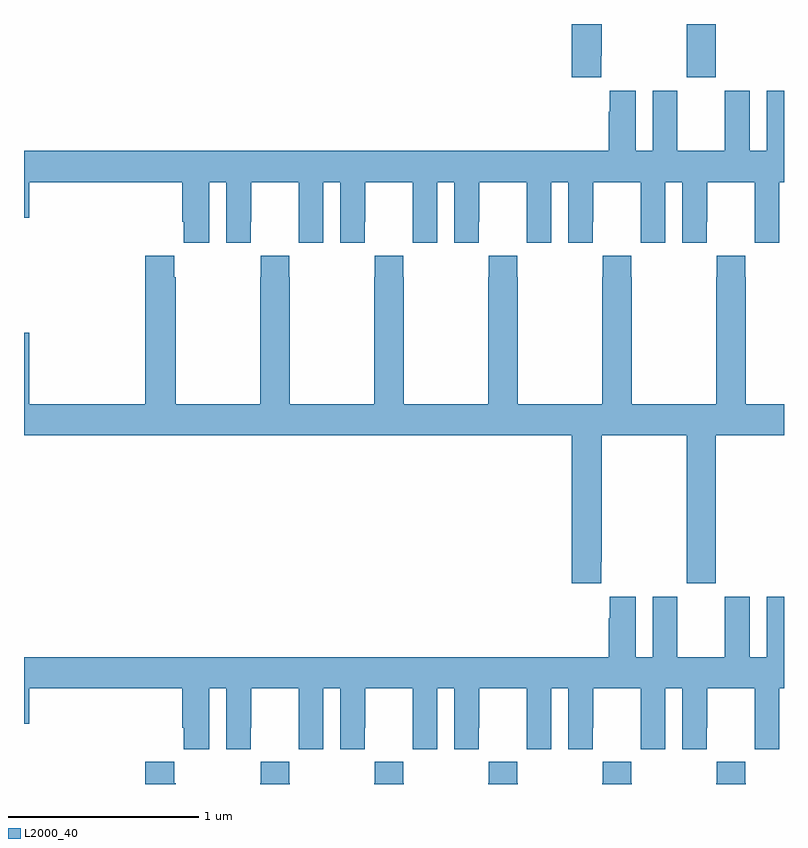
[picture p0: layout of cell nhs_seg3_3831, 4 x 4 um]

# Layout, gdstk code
import gdstk
lib = gdstk.Library(unit=1e-6, precision=1e-09)
def R(c, l, rs):  # rectangles x0, y0, x1, y1
    for r in rs: c.add(gdstk.rectangle(r[:2], r[2:], *l))
def P(c, l, *ps):  # polygons
    for p in ps: c.add(gdstk.Polygon(p, *l))
L2000_40 = (2000, 40)

nhs_seg3_3831 = lib.new_cell('nhs_seg3_3831')
R(nhs_seg3_3831, L2000_40, [(312.487,716.121,312.642,716.4)])
P(nhs_seg3_3831, L2000_40, [(312.037,716.233),(312.042,716.233),(312.042,716.4),(311.882,716.4),(311.882,716.121),(312.037,716.121)],
  [(309.976,715.568),(310.064,715.568),(310.064,715.248),(310.194,715.248),(310.194,715.36),(310.195,715.36),(310.195,715.568),(310.445,715.568),(310.445,715.36),(310.446,715.36),(310.446,715.248),(310.576,715.248),(310.576,715.568),(310.664,715.568),(310.664,715.248),(310.794,715.248),(310.794,715.36),(310.795,715.36),(310.795,715.568),(311.045,715.568),(311.045,715.36),(311.046,715.36),(311.046,715.248),(311.176,715.248),(311.176,715.568),(311.264,715.568),(311.264,715.248),(311.394,715.248),(311.394,715.36),(311.395,715.36),(311.395,715.568),(311.645,715.568),(311.645,715.36),(311.646,715.36),(311.646,715.248),(311.776,715.248),(311.776,715.568),(311.864,715.568),(311.864,715.248),(311.994,715.248),(311.994,715.36),(311.995,715.36),(311.995,715.568),(312.245,715.568),(312.245,715.36),(312.246,715.36),(312.246,715.248),(312.376,715.248),(312.376,715.568),(312.464,715.568),(312.464,715.248),(312.594,715.248),(312.594,715.36),(312.595,715.36),(312.595,715.568),(312.845,715.568),(312.845,715.36),(312.846,715.36),(312.846,715.248),(312.976,715.248),(312.976,715.568),(313,715.568),(313,716.05),(312.908,716.05),(312.908,715.732),(312.82,715.732),(312.82,716.05),(312.689,716.05),(312.689,715.732),(312.439,715.732),(312.439,716.05),(312.308,716.05),(312.308,715.732),(312.22,715.732),(312.22,716.05),(312.083,716.05),(312.083,715.937),(312.077,715.937),(312.077,715.732),(309,715.732),(309,715.38),(309.028,715.38),(309.028,715.568),(309.833,715.568),(309.833,715.36),(309.842,715.36),(309.842,715.248),(309.976,715.248)],
  [(312.037,713.569),(312.042,713.569),(312.042,714.236),(312.487,714.236),(312.487,713.457),(312.642,713.457),(312.642,714.236),(313,714.236),(313,714.4),(312.798,714.4),(312.798,715.067),(312.795,715.067),(312.795,715.18),(312.645,715.18),(312.645,715.067),(312.643,715.067),(312.643,714.4),(312.198,714.4),(312.198,715.067),(312.195,715.067),(312.195,715.18),(312.045,715.18),(312.045,715.067),(312.043,715.067),(312.043,714.4),(311.598,714.4),(311.598,715.067),(311.595,715.067),(311.595,715.18),(311.445,715.18),(311.445,715.067),(311.443,715.067),(311.443,714.4),(310.998,714.4),(310.998,715.067),(310.995,715.067),(310.995,715.18),(310.845,715.18),(310.845,715.067),(310.843,715.067),(310.843,714.4),(310.398,714.4),(310.398,715.067),(310.395,715.067),(310.395,715.18),(310.245,715.18),(310.245,715.067),(310.243,715.067),(310.243,714.4),(309.798,714.4),(309.798,715.067),(309.791,715.067),(309.791,715.18),(309.638,715.18),(309.638,714.4),(309.028,714.4),(309.028,714.775),(309,714.775),(309,714.236),(311.882,714.236),(311.882,713.457),(312.037,713.457)],
  [(309,712.716),(309.028,712.716),(309.028,712.904),(309.833,712.904),(309.833,712.696),(309.842,712.696),(309.842,712.584),(309.976,712.584),(309.976,712.904),(310.064,712.904),(310.064,712.584),(310.194,712.584),(310.194,712.696),(310.195,712.696),(310.195,712.904),(310.445,712.904),(310.445,712.696),(310.446,712.696),(310.446,712.584),(310.576,712.584),(310.576,712.904),(310.664,712.904),(310.664,712.584),(310.794,712.584),(310.794,712.696),(310.795,712.696),(310.795,712.904),(311.045,712.904),(311.045,712.696),(311.046,712.696),(311.046,712.584),(311.176,712.584),(311.176,712.904),(311.264,712.904),(311.264,712.584),(311.394,712.584),(311.394,712.696),(311.395,712.696),(311.395,712.904),(311.645,712.904),(311.645,712.696),(311.646,712.696),(311.646,712.584),(311.776,712.584),(311.776,712.904),(311.864,712.904),(311.864,712.584),(311.994,712.584),(311.994,712.696),(311.995,712.696),(311.995,712.904),(312.245,712.904),(312.245,712.696),(312.246,712.696),(312.246,712.584),(312.376,712.584),(312.376,712.904),(312.464,712.904),(312.464,712.584),(312.594,712.584),(312.594,712.696),(312.595,712.696),(312.595,712.904),(312.845,712.904),(312.845,712.696),(312.846,712.696),(312.846,712.584),(312.976,712.584),(312.976,712.904),(313,712.904),(313,713.386),(312.908,713.386),(312.908,713.068),(312.82,713.068),(312.82,713.386),(312.689,713.386),(312.689,713.068),(312.439,713.068),(312.439,713.386),(312.308,713.386),(312.308,713.068),(312.22,713.068),(312.22,713.386),(312.083,713.386),(312.083,713.273),(312.077,713.273),(312.077,713.068),(309,713.068)],
  [(312.798,712.403),(312.795,712.403),(312.795,712.516),(312.645,712.516),(312.645,712.403),(312.643,712.403),(312.643,712.4),(312.798,712.4)],
  [(311.598,712.403),(311.595,712.403),(311.595,712.516),(311.445,712.516),(311.445,712.403),(311.443,712.403),(311.443,712.4),(311.598,712.4)],
  [(310.998,712.403),(310.995,712.403),(310.995,712.516),(310.845,712.516),(310.845,712.403),(310.843,712.403),(310.843,712.4),(310.998,712.4)],
  [(310.398,712.403),(310.395,712.403),(310.395,712.516),(310.245,712.516),(310.245,712.403),(310.243,712.403),(310.243,712.4),(310.398,712.4)],
  [(309.798,712.403),(309.791,712.403),(309.791,712.516),(309.638,712.516),(309.638,712.4),(309.798,712.4)],
  [(312.198,712.403),(312.195,712.403),(312.195,712.516),(312.045,712.516),(312.045,712.403),(312.043,712.403),(312.043,712.4),(312.198,712.4)])

lib.write_gds('nhs_seg3_3831.gds')
